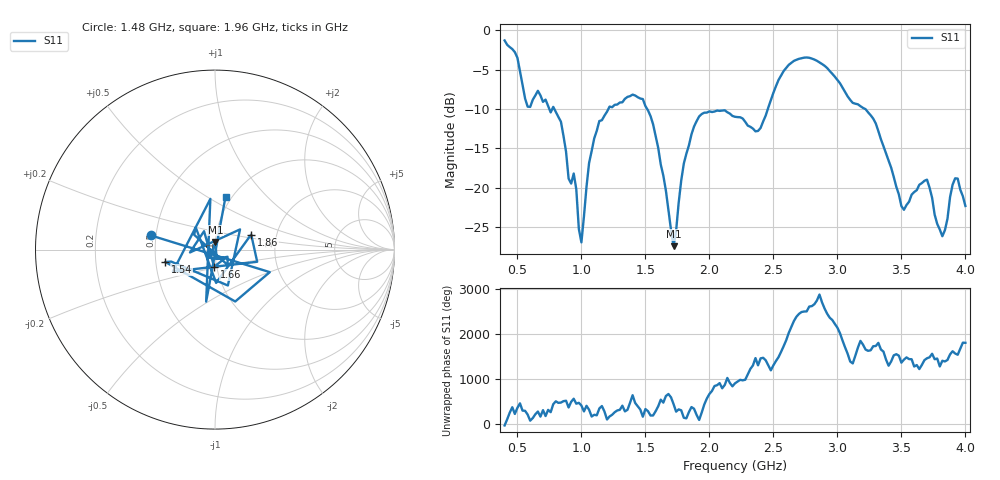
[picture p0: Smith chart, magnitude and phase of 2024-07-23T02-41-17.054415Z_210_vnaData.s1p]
!Created with skrf (http://scikit-rf.org).
# Hz S RI R 50.0
!freq ReS11 ImS11
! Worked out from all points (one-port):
!   181 points, 400 MHz to 4 GHz, reference 50 ohm
!   lowest |S11| = -27.4 dB at 1.72 GHz (marker M1), VSWR 1.09, Z = 50 + j4.25 ohm
!   |S11| at or under -10 dB: 788.3 MHz to 1.211 GHz (422.2 MHz wide, 42.2 % of centre); 1.514 GHz to 2.456 GHz (942.5 MHz wide, 47.5 % of centre); 3.218 GHz to end of sweep (the widest 3 of 4)
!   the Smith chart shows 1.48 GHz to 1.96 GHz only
!   S11 on the Smith chart (normalised r, x): 1.48 GHz: 0.47, +0.09; 1.54 GHz: 0.56, -0.08; 1.66 GHz: 0.97, -0.19; 1.86 GHz: 1.48, +0.26; 1.96 GHz: 0.94, +0.60
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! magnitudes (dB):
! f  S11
! 400 MHz  -1.3
! 500 MHz  -3.5
! 580 MHz  -9.7
! 660 MHz  -7.7
! 860 MHz  -13.4
! 900 MHz  -18.8
! 940 MHz  -18.2
! 1 GHz  -27.0
! 1.1 GHz  -13.7
! 1.3 GHz  -9.2
! 1.48 GHz  -8.7
! 1.54 GHz  -10.9
! 1.66 GHz  -20.4
! 1.72 GHz  -27.4
! 1.76 GHz  -21.9
! 1.86 GHz  -13.2
! 1.96 GHz  -10.5
! 2.2 GHz  -11.0
! 2.38 GHz  -12.8
! 2.66 GHz  -3.9
! 3.1 GHz  -8.8
! 3.28 GHz  -11.2
! 3.5 GHz  -22.3
! 3.56 GHz  -21.8
! 3.7 GHz  -19.0
! 3.82 GHz  -26.2
! 3.92 GHz  -18.8
! 4 GHz  -22.3
